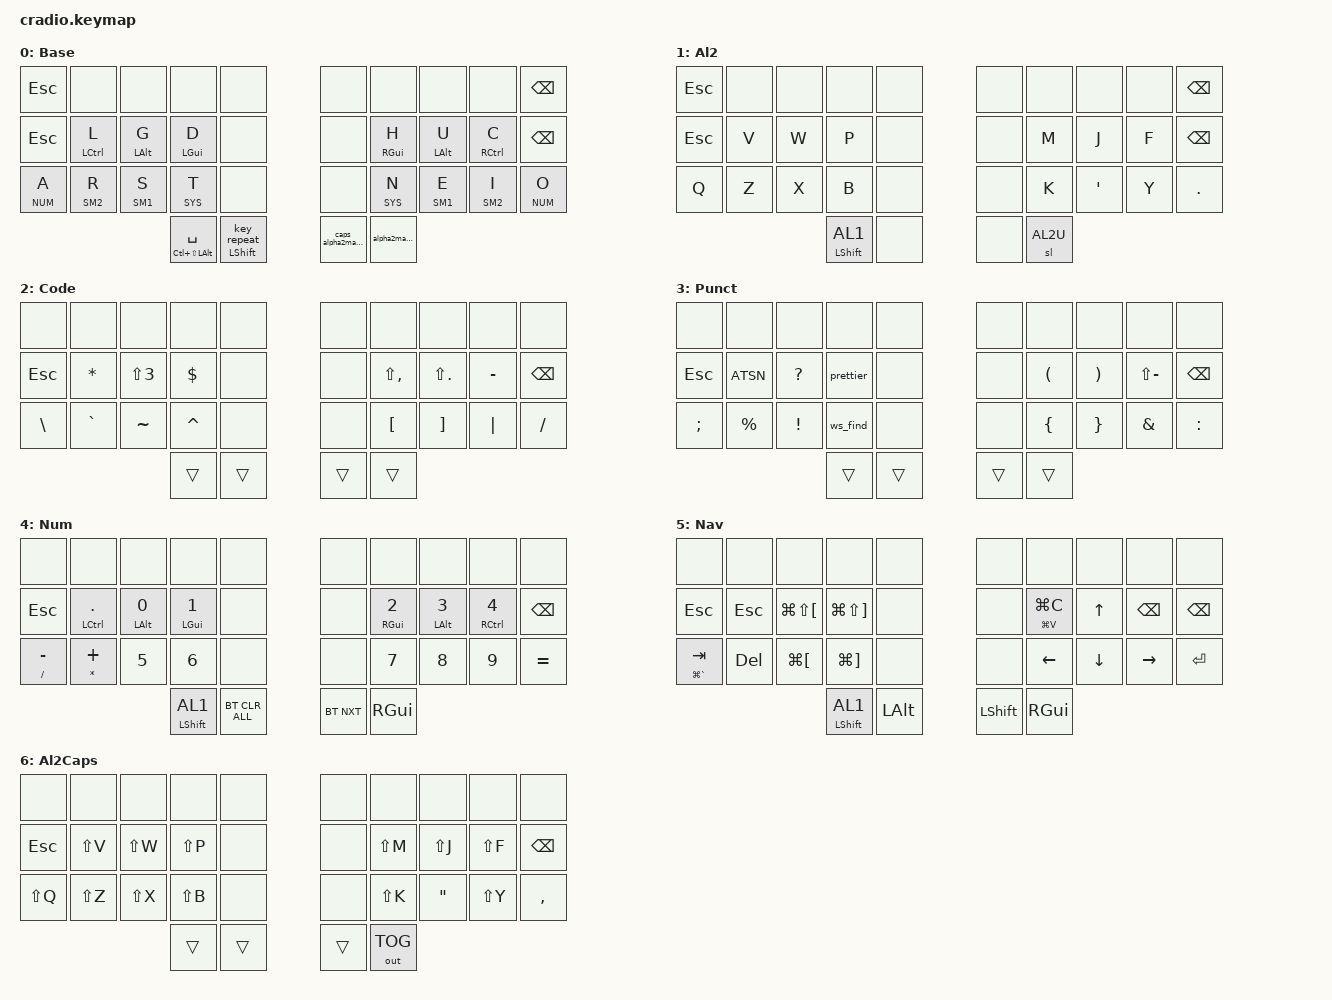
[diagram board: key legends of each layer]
/*
 * Copyright (c) 2020 The ZMK Contributors
 *
 * SPDX-License-Identifier: MIT
 */

#include <behaviors.dtsi>
#include <dt-bindings/zmk/keys.h>
#include <dt-bindings/zmk/bt.h>
#include <dt-bindings/zmk/outputs.h>

/* Layers */
#define AL1 0
#define AL2 1
#define SM1 2
#define SM2 3
#define NUM 4
#define SYS 5
#define AL2U 6

&mt {
    tapping-term-ms = <251>;
    flavor = "tap-preferred";
 };
&sk {
     release-after-ms = <2000>;
     quick-release;
 };

/ {

    combos {
    };

    behaviors {
            hm_l: homerow_mods_left {
                compatible = "zmk,behavior-hold-tap";
                label = "HOMEROW_MODS_L";
                #binding-cells = <2>;
                tapping-term-ms = <300>;
                quick-tap-ms = <250>;
                flavor = "tap-preferred";
                bindings = <&kp>, <&kp>;
                hold-trigger-key-positions = <5 6 7 8 9 15 16 17 18 19 25 26 27 28 29>; // right hand
            };
            hm_r: homerow_mods_right {
                compatible = "zmk,behavior-hold-tap";
                label = "HOMEROW_MODS_R";
                #binding-cells = <2>;
                tapping-term-ms = <300>;
                quick-tap-ms = <250>;
                flavor = "tap-preferred";
                bindings = <&kp>, <&kp>;
                hold-trigger-key-positions = <0 1 2 3 4 10 11 12 13 14 20 21 22 23 24>; // left hand
            };
            sr: shift_layer {
                compatible = "zmk,behavior-hold-tap";
                label = "SHIFT_LAYER";
                #binding-cells = <2>;
                tapping-term-ms = <300>;
                quick_tap_ms = <0>;
                flavor = "tap-preferred";
                bindings = <&kp>, <&to>;
                retro-tap;
            };
            hl_l: homerow_layers_left {
                compatible = "zmk,behavior-hold-tap";
                label = "HOMEROW_LAYERS_L";
                #binding-cells = <2>;
                tapping-term-ms = <220>;
                quick-tap-ms = <250>;
                flavor = "tap-preferred";
                bindings = <&mo>, <&kp>;
                hold-trigger-key-positions = <5 6 7 8 9 15 16 17 18 19 25 26 27 28 29>; // right hand
            };
            hl_r: homerow_layers_right {
                compatible = "zmk,behavior-hold-tap";
                label = "HOMEROW_LAYERS_R";
                #binding-cells = <2>;
                tapping-term-ms = <220>;
                quick-tap-ms = <250>;
                flavor = "tap-preferred";
                bindings = <&mo>, <&kp>;
                hold-trigger-key-positions = <0 1 2 3 4 10 11 12 13 14 20 21 22 23 24>; // left hand
            };
            td: tapdance {
                compatible = "zmk,behavior-hold-tap";
                label = "TAPDANCE";
                #binding-cells = <2>;
                tapping-term-ms = <190>;
                quick-tap-ms = <250>;
                flavor = "tap-preferred";
                bindings = <&kp>, <&kp>;
            };
            shrep: shift_repeat {
                    compatible = "zmk,behavior-hold-tap";
                    label = "SHIFT_REPEAT";
                    #binding-cells = <2>;
                    flavor = "hold-preferred";
                    tapping-term-ms = <400>;
                    quick-tap-ms = <200>;
                    bindings = <&kp>, <&key_repeat>;
                };
            alpha2macro: behavior_macro_1 {
                compatible = "zmk,behavior-macro";
                label = "MACRO1";
                #binding-cells = <0>;
                bindings = < &sl AL2 >;
            };
            caps_alpha2macro: behavior_macro_2 {
                compatible = "zmk,behavior-macro";
                label = "MACRO2";
                #binding-cells = <0>;
                bindings = < &sl AL2U >;
            };
    };

    macros {
        ws_find: ws_find {
            compatible = "zmk,behavior-macro";
            label = "ws_find_macro";
            #binding-cells = <0>;
            bindings =
                <&macro_tap>,
                <&kp LEFT_SHIFT &kp LEFT_SHIFT>;
        };
        prettier: prettier {
            compatible = "zmk,behavior-macro";
            label = "prettier_macro";
            #binding-cells = <0>;
            bindings =
                <&macro_press>,
                <&kp LEFT_CONTROL &kp LEFT_ALT &kp O>,
                <&macro_release>,
                <&kp LEFT_CONTROL &kp LEFT_ALT &kp O>,
                <&macro_press>,
                <&kp LEFT_COMMAND &kp LEFT_SHIFT &kp LEFT_ALT &kp P>,
                <&macro_release>,
                <&kp LEFT_COMMAND &kp LEFT_SHIFT &kp LEFT_ALT &kp P>;
        };
    };

   // -----------------------------------------------------------------------------------------
   // |  0 |   1  |  2   |   3  |   4  |       |  5   |  6  |  7   |  8   |  9  |
   // | 10 |  11  |  12  |  13  |  14  |       |  15  |  16 |  17  |  18  |  19 |
   // | 20 |  21  |  22  |  23  |  24  |       |  25  |  26 |  27  |  28  |  29 |
   //                    |  30  |  31  |       |  32  |  33 |    
    keymap {
         compatible = "zmk,keymap";

         AL1 {
         label = "Base";
                        bindings = <
      &kp ESC   &none   &none   &none   &none                                                 &none   &none   &none   &none  &kp BSPC   
     &kp ESC  &hm_l LCTL L &hm_l LALT G &hm_l LGUI D  &none                                &none   &hm_r RGUI H  &hm_r LALT U  &hm_r RCTL C  &kp BSPC  
     &hl_l NUM A  &hl_l SM2 R  &hl_l SM1 S  &hl_l SYS T  &none                             &none   &hl_r SYS N  &hl_r SM1 E  &hl_r SM2 I  &hl_r NUM O  
    
     &mt LC(LS(LALT)) SPC  &shrep LSHIFT 0                                                 &caps_alpha2macro  &alpha2macro 
                        >;
                };

          AL2 {
          label = "Al2";
                         bindings = <
      &kp ESC   &none   &none   &none   &none                                 &none   &none   &none   &none  &kp BSPC 
      &kp ESC  &kp V  &kp W   &kp P   &none                                 &none   &kp M   &kp J   &kp F &kp BSPC   
      &kp Q  &kp Z &kp X     &kp B    &none                                 &none   &kp K   &kp SQT &kp Y   &kp DOT  
       
      &sr LSHIFT AL1      &none                                             &none    &sl AL2U  
                         >;
               };
                
         SM1 {
         label = "Code";
                        bindings = <
      &none   &none   &none   &none   &none                                              &none   &none          &none        &none      &none      
     &kp ESC   &kp STAR     &kp LS(N3)  &kp DLLR  &none                                 &none   &kp LS(COMMA)  &kp LS(DOT)  &kp MINUS  &kp BSPC   
     &kp BSLH   &kp GRAVE    &kp TILDE   &kp CARET  &none                               &none   &kp LBKT       &kp RBKT     &kp PIPE   &kp SLASH  
    
     &trans      &trans                                                                 &trans  &trans 
                        >;
                };
        
         SM2 {
         label = "Punct";
                        bindings = <
      &none   &none   &none   &none   &none                                                 &none   &none   &none   &none  &none 
     &kp ESC    &kp ATSN    &kp QMARK   &prettier    &none                                 &none   &kp LPRN    &kp RPRN  &kp LS(MINUS)  &kp BSPC   
     &kp SEMI    &kp PRCNT   &kp EXCL     &ws_find   &none                                 &none   &kp LBRC    &kp RBRC    &kp AMPS    &kp COLON    
     
     &trans  &trans                                                                        &trans &trans 
                        >;
                };
                
         NUM {
         label = "Num";
                        bindings = <
     &none   &none   &none   &none   &none                                                  &none   &none   &none   &none  &none  
     &kp ESC  &hm_l LCTL DOT &hm_l LALT N0   &hm_l LGUI N1  &none                           &none   &hm_r RGUI N2   &hm_r LALT N3    &hm_r RCTL N4  &kp BSPC   
     &td SLASH MINUS   &td STAR PLUS  &kp N5    &kp N6   &none                              &none   &kp N7   &kp N8    &kp N9  &kp EQUAL  
     
     &sr LSHIFT AL1  &bt BT_CLR_ALL                                                         &bt BT_NXT &kp RGUI 
                        >;
                };

         SYS {
         label = "Nav";
                        bindings = <
     &none   &none   &none   &none   &none                                                    &none   &none   &none   &none  &none  
     &kp ESC &kp ESC &kp LG(LS(LBKT)) &kp LG(LS(RBKT))  &none                                 &none   &mt LG(V) LG(C)  &kp UP    &kp BKSP  &kp BSPC   
     &td LG(GRAVE) TAB   &kp DEL &kp LG(LBKT) &kp LG(RBKT)  &none                              &none   &kp LEFT         &kp DOWN  &kp RIGHT   &kp RET  
     
     &sr LSHIFT AL1      &kp LALT                                                             &kp LSHIFT  &kp RGUI 
                        >;
                };

        AL2U {
        label = "Al2Caps";
                        bindings = <
     &none   &none   &none   &none   &none                                                 &none   &none   &none   &none  &none  
     &kp ESC  &kp LS(V) &kp LS(W) &kp LS(P)  &none                                         &none   &kp LS(M)   &kp LS(J)    &kp LS(F)   &kp BSPC   
     &kp LS(Q)   &kp LS(Z)   &kp LS(X)   &kp LS(B)   &none                                 &none   &kp LS(K)   &kp DQT      &kp LS(Y)   &kp COMMA  
     
     &trans  &trans                                                                        &trans &out OUT_TOG 
                        >;
                };
        };
};
